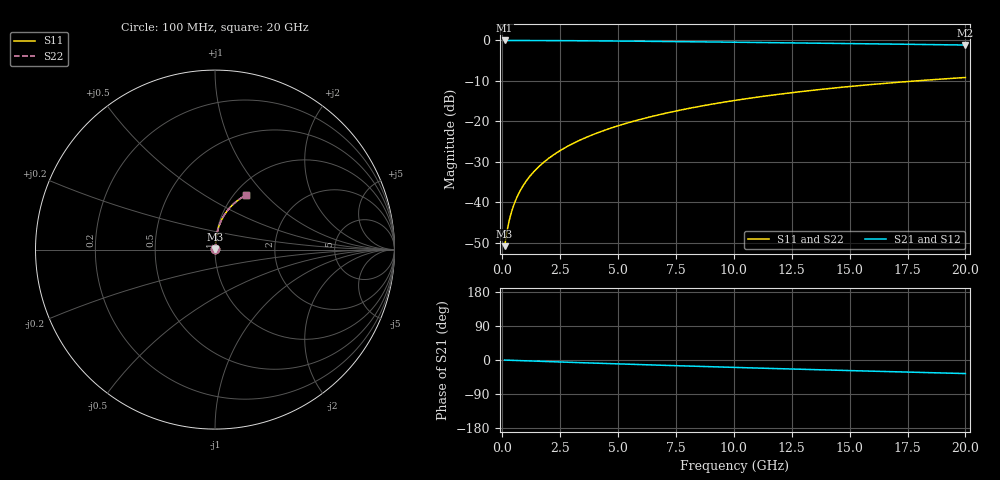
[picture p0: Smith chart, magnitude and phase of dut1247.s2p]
! Touchstone file exported from HFSS 2024.1.0
!  File:  C:/UserFiles/LocalFiles/RDL_TSV_Batchsim/temp_RDL_top_1247_1780241224.aedt
!  Generated:  11:29:07 PM May 31, 2026
!  Design:  RDL_top
!  Project:  temp_RDL_top_1247_1780241224
!  Setup:  Setup1
!  Solution:  Sweep
! Variables:
!  dtsv = 10.80580581um
!  hbump = 3um
!  htsv = 89.98um
!  ldown = 100um
!  lrdl = 491.46um
!  p = 40
!  p1 = 49.77um
!  rhole = 1um
!  t = 450um
!  tdown = 3.915915916um
!  trdl = 4.37um
!  wdown = 15.38538539um
!  wrdl = 19.51um
# GHz S MA R 50.000000
! Terminal data exported
! Port[1] = Box2_T1
! Port[2] = Box2_T2
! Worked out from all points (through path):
!   200 points, 100 MHz to 20 GHz, reference 50 ohm
!   highest |S21| = -0.02 dB at 100 MHz (marker M1); lowest = -1.1 dB at 20 GHz (marker M2)
!   group delay of S21, straight-line fit = 4.94 ps
!   lowest |S11| = -50.8 dB at 100 MHz (marker M3), VSWR 1.01, Z = 50.2 + j0.188 ohm
!   |S11| at or under -10 dB: start of sweep to 17.87 GHz
!   |S22| runs from -50.8 to -9.2 dB; largest |S21 - S12| = 3.2e-15
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0.1  0.002886 40.5  0.9978 -0.2  0.9978 -0.2  0.002886 40.5
! Gamma 0 0 0 0
! Port Impedance 50 0 50 0
0.2  0.004363 58.4  0.9977 -0.4  0.9977 -0.4  0.004363 58.4
0.3  0.00601 66.5  0.9975 -0.7  0.9975 -0.7  0.00601 66.5
0.4  0.007687 70.9  0.9974 -0.9  0.9974 -0.9  0.007686 70.9
0.5  0.009366 73.7  0.9973 -1.1  0.9973 -1.1  0.009365 73.7
0.6  0.01104 75.7  0.9971 -1.3  0.9971 -1.3  0.01104 75.7
0.8  0.01441 78.4  0.9969 -1.7  0.9969 -1.7  0.01441 78.4
1.1  0.01949 80.8  0.9964 -2.3  0.9964 -2.3  0.01949 80.8
1.5  0.02633 82.5  0.9956 -3.2  0.9956 -3.2  0.02633 82.5
1.8  0.0315 83.2  0.9949 -3.8  0.9949 -3.8  0.0315 83.2
2.1  0.0367 83.6  0.9941 -4.4  0.9941 -4.4  0.0367 83.6
2.7  0.04718 84.0  0.9921 -5.7  0.9921 -5.7  0.04718 84.0
3.5  0.06132 84.0  0.9889 -7.3  0.9889 -7.3  0.06133 84.0
4.2  0.07385 83.7  0.9855 -8.7  0.9855 -8.7  0.07385 83.7
5  0.08832 83.1  0.9813 -10.3  0.9813 -10.3  0.08833 83.1
5.9  0.1048 82.2  0.9761 -12.0  0.9761 -12.0  0.1048 82.2
6.8  0.1214 81.1  0.9706 -13.7  0.9706 -13.7  0.1214 81.1
8.4  0.1511 79.0  0.9602 -16.7  0.9602 -16.7  0.1512 79.0
10.1  0.1826 76.4  0.9486 -19.7  0.9486 -19.7  0.1827 76.4
13.4  0.2421 71.1  0.9252 -25.3  0.9252 -25.3  0.2422 71.1
16.7  0.2978 65.6  0.9009 -30.7  0.9009 -30.7  0.2978 65.6
20  0.3484 60.3  0.8763 -35.8  0.8763 -35.8  0.3485 60.4
